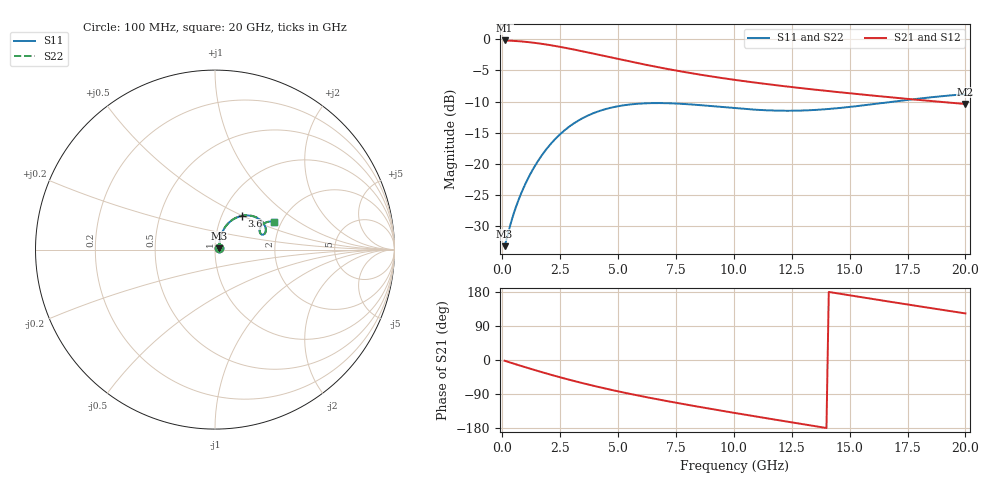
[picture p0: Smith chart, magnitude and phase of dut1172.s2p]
! Touchstone file exported from HFSS 2024.1.0
!  File:  C:/UserFiles/LocalFiles/RDL_TSV_Batchsim/temp_RDL_TSV_1172_1780123461.aedt
!  Generated:  02:58:45 PM May 30, 2026
!  Design:  RDL_TSV
!  Project:  temp_RDL_TSV_1172_1780123461
!  Setup:  Setup1
!  Solution:  Sweep
! Variables:
!  dtsv = 7.71um
!  hbump = 3um
!  htsv = 74.77um
!  ldown = 608.65um
!  lrdl = 424.38um
!  p = 40
!  p1 = 48.78um
!  rhole = 10um
!  subl = 3523.47um
!  t = 450um
!  tdown = 4.06um
!  trdl = 3.01um
!  viad = 10um
!  wdown = 15.96um
!  wrdl = 20.31um
!  xbump = 18um
# GHz S MA R 50.000000
! Terminal data exported
! Port[1] = TM1_1_T1
! Port[2] = TM1_4_T1
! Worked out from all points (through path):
!   200 points, 100 MHz to 20 GHz, reference 50 ohm
!   highest |S21| = -0.18 dB at 100 MHz (marker M1); lowest = -10.4 dB at 20 GHz (marker M2)
!   group delay of S21, straight-line fit = 31.2 ps
!   lowest |S11| = -33.2 dB at 100 MHz (marker M3), VSWR 1.04, Z = 52.1 + j0.734 ohm
!   |S11| at or under -10 dB: start of sweep to 16.89 GHz
!   |S22| runs from -33.2 to -8.8 dB; largest |S21 - S12| = 2.3e-14
!   S11 on the Smith chart (normalised r, x): 100 MHz: 1.04, +0.01; 3.6 GHz: 1.24, +0.49; 20 GHz: 1.83, +0.65
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0.1  0.02191 18.7  0.9791 -2.0  0.9791 -2.0  0.02191 18.7
! Gamma 0 0 0 0
! Port Impedance 50 0 50 0
0.4  0.03513 48.0  0.9739 -7.8  0.9739 -7.8  0.03513 48.0
0.7  0.05135 59.2  0.9658 -13.6  0.9658 -13.6  0.05134 59.2
1  0.06941 64.5  0.9551 -19.2  0.9551 -19.2  0.06941 64.6
1.4  0.09585 67.0  0.9369 -26.5  0.9369 -26.5  0.09587 67.1
1.9  0.1311 66.2  0.9088 -35.5  0.9088 -35.5  0.1312 66.3
2.4  0.1666 62.9  0.8765 -44.0  0.8765 -44.0  0.1667 63.0
2.9  0.1999 58.5  0.8418 -52.2  0.8418 -52.2  0.2002 58.6
3.5  0.2347 52.5  0.7988 -61.6  0.7988 -61.6  0.2351 52.6
3.6  0.2398 51.5  0.7916 -63.1  0.7916 -63.1  0.2402 51.6
4.3  0.27 44.5  0.7423 -73.2  0.7423 -73.2  0.2706 44.7
5.2  0.2948 36.5  0.683 -85.3  0.683 -85.3  0.2956 36.6
6  0.3054 30.5  0.6357 -95.4  0.6357 -95.4  0.3064 30.6
6.8  0.3079 25.6  0.594 -104.8  0.594 -104.8  0.3091 25.7
8.4  0.298 19.2  0.5258 -122.6  0.5258 -122.6  0.2993 19.3
10.1  0.2798 17.3  0.471 -140.4  0.471 -140.4  0.2813 17.4
11.7  0.2683 19.3  0.431 -156.6  0.431 -156.6  0.2699 19.3
13.4  0.2705 23.4  0.3965 -173.5  0.3965 -173.5  0.2721 23.4
15  0.2868 26.8  0.3691 170.7  0.3691 170.7  0.2882 26.7
16.7  0.3131 28.1  0.3436 154.2  0.3436 154.2  0.3145 28.0
18.3  0.3394 27.4  0.3225 138.9  0.3225 138.9  0.3408 27.3
20  0.3632 25.1  0.3029 122.9  0.3029 122.9  0.3647 25.0
